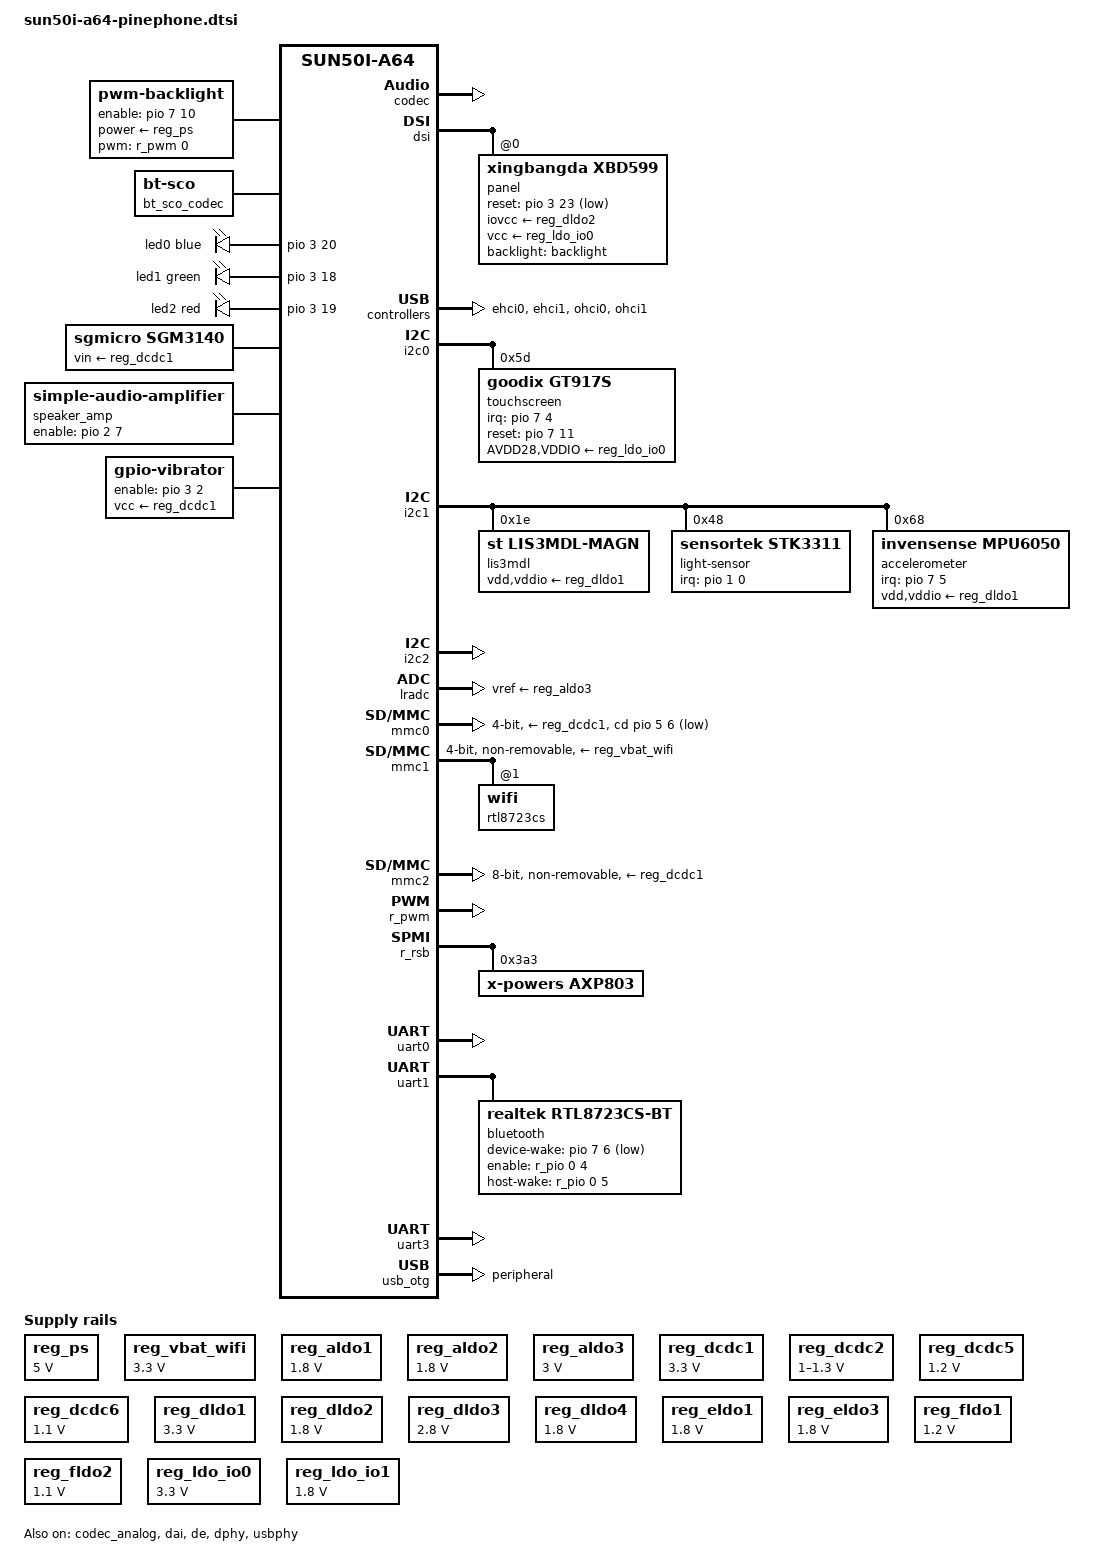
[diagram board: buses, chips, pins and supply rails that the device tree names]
// SPDX-License-Identifier: (GPL-2.0+ OR MIT)
// Copyright (C) 2019 Icenowy Zheng <icenowy@aosc.xyz>
// Copyright (C) 2020 Martijn Braam <martijn@brixit.nl>
// Copyright (C) 2020 Ondrej Jirman <megous@megous.com>

#include "sun50i-a64.dtsi"
#include "sun50i-a64-cpu-opp.dtsi"

#include <dt-bindings/gpio/gpio.h>
#include <dt-bindings/input/input.h>
#include <dt-bindings/leds/common.h>
#include <dt-bindings/pwm/pwm.h>

/ {
	chassis-type = "handset";

	aliases {
		ethernet0 = &rtl8723cs;
		serial0 = &uart0;
	};

	backlight: backlight {
		compatible = "pwm-backlight";
		pwms = <&r_pwm 0 50000 PWM_POLARITY_INVERTED>;
		enable-gpios = <&pio 7 10 GPIO_ACTIVE_HIGH>; /* PH10 */
		power-supply = <&reg_ps>;
		/* Backlight configuration differs per PinePhone revision. */
	};

	bt_sco_codec: bt-sco-codec {
		#sound-dai-cells = <1>;
		compatible = "linux,bt-sco";
	};

	chosen {
		stdout-path = "serial0:115200n8";
	};

	leds {
		compatible = "gpio-leds";

		led0: led-0 {
			function = LED_FUNCTION_INDICATOR;
			color = <LED_COLOR_ID_BLUE>;
			gpios = <&pio 3 20 GPIO_ACTIVE_HIGH>; /* PD20 */
			retain-state-suspended;
		};

		led1: led-1 {
			function = LED_FUNCTION_INDICATOR;
			color = <LED_COLOR_ID_GREEN>;
			gpios = <&pio 3 18 GPIO_ACTIVE_HIGH>; /* PD18 */
			retain-state-suspended;
		};

		led2: led-2 {
			function = LED_FUNCTION_INDICATOR;
			color = <LED_COLOR_ID_RED>;
			gpios = <&pio 3 19 GPIO_ACTIVE_HIGH>; /* PD19 */
			retain-state-suspended;
		};
	};

	multi-led {
		compatible = "leds-group-multicolor";
		color = <LED_COLOR_ID_RGB>;
		function = LED_FUNCTION_INDICATOR;
		leds = <&led0>, <&led1>, <&led2>;
	};

	reg_ps: ps-regulator {
		compatible = "regulator-fixed";
		regulator-name = "ps";
		regulator-min-microvolt = <5000000>;
		regulator-max-microvolt = <5000000>;
		regulator-boot-on;
	};

	reg_vbat_wifi: vbat-wifi {
		compatible = "regulator-fixed";
		regulator-min-microvolt = <3300000>;
		regulator-max-microvolt = <3300000>;
		regulator-name = "vbat-wifi";
	};

	sgm3140: led-controller {
		compatible = "sgmicro,sgm3140";
		vin-supply = <&reg_dcdc1>;

		sgm3140_flash: led {
			function = LED_FUNCTION_FLASH;
			color = <LED_COLOR_ID_WHITE>;
			flash-max-timeout-us = <250000>;
		};
	};

	speaker_amp: audio-amplifier {
		compatible = "simple-audio-amplifier";
		enable-gpios = <&pio 2 7 GPIO_ACTIVE_HIGH>; /* PC7 */
		sound-name-prefix = "Speaker Amp";
	};

	vibrator {
		compatible = "gpio-vibrator";
		enable-gpios = <&pio 3 2 GPIO_ACTIVE_HIGH>; /* PD2 */
		vcc-supply = <&reg_dcdc1>;
	};
};

&codec {
	pinctrl-names = "default";
	pinctrl-0 = <&aif3_pins>;
	status = "okay";
};

&codec_analog {
	cpvdd-supply = <&reg_eldo1>;
	status = "okay";
};

&cpu0 {
	cpu-supply = <&reg_dcdc2>;
};

&cpu1 {
	cpu-supply = <&reg_dcdc2>;
};

&cpu2 {
	cpu-supply = <&reg_dcdc2>;
};

&cpu3 {
	cpu-supply = <&reg_dcdc2>;
};

&dai {
	status = "okay";
};

&de {
	status = "okay";
};

&dphy {
	status = "okay";
};

&dsi {
	vcc-dsi-supply = <&reg_dldo1>;
	status = "okay";

	panel@0 {
		compatible = "xingbangda,xbd599";
		reg = <0>;
		reset-gpios = <&pio 3 23 GPIO_ACTIVE_LOW>; /* PD23 */
		iovcc-supply = <&reg_dldo2>;
		vcc-supply = <&reg_ldo_io0>;
		backlight = <&backlight>;
	};
};

&ehci0 {
	status = "okay";
};

&ehci1 {
	status = "okay";
};

&i2c0 {
	status = "okay";

	touchscreen@5d {
		compatible = "goodix,gt917s";
		reg = <0x5d>;
		interrupt-parent = <&pio>;
		interrupts = <7 4 IRQ_TYPE_LEVEL_HIGH>; /* PH4 */
		irq-gpios = <&pio 7 4 GPIO_ACTIVE_HIGH>; /* PH4 */
		reset-gpios = <&pio 7 11 GPIO_ACTIVE_HIGH>; /* PH11 */
		AVDD28-supply = <&reg_ldo_io0>;
		VDDIO-supply = <&reg_ldo_io0>;
		touchscreen-size-x = <720>;
		touchscreen-size-y = <1440>;
	};
};

&i2c1 {
	status = "okay";

	/* Magnetometer */
	lis3mdl: magnetometer@1e {
		compatible = "st,lis3mdl-magn";
		reg = <0x1e>;
		vdd-supply = <&reg_dldo1>;
		vddio-supply = <&reg_dldo1>;
	};

	/* Light/proximity sensor */
	light-sensor@48 {
		compatible = "sensortek,stk3311";
		reg = <0x48>;
		interrupt-parent = <&pio>;
		interrupts = <1 0 IRQ_TYPE_EDGE_FALLING>; /* PB0 */
	};

	/* Accelerometer/gyroscope */
	accelerometer@68 {
		compatible = "invensense,mpu6050";
		reg = <0x68>;
		interrupt-parent = <&pio>;
		interrupts = <7 5 IRQ_TYPE_EDGE_RISING>; /* PH5 */
		vdd-supply = <&reg_dldo1>;
		vddio-supply = <&reg_dldo1>;
		mount-matrix = "0", "1", "0",
			       "-1", "0", "0",
			       "0", "0", "1";
	};
};

/* Connected to pogo pins (external spring based pinheader for user addons) */
&i2c2 {
	status = "okay";
};

&lradc {
	vref-supply = <&reg_aldo3>;
	wakeup-source;
	status = "okay";

	button-200 {
		label = "Volume Up";
		linux,code = <KEY_VOLUMEUP>;
		channel = <0>;
		voltage = <200000>;
	};

	button-400 {
		label = "Volume Down";
		linux,code = <KEY_VOLUMEDOWN>;
		channel = <0>;
		voltage = <400000>;
	};
};

&mmc0 {
	pinctrl-names = "default";
	pinctrl-0 = <&mmc0_pins>;
	vmmc-supply = <&reg_dcdc1>;
	vqmmc-supply = <&reg_dcdc1>;
	cd-gpios = <&pio 5 6 GPIO_ACTIVE_LOW>; /* PF6 */
	disable-wp;
	bus-width = <4>;
	status = "okay";
};

&mmc1 {
	pinctrl-names = "default";
	pinctrl-0 = <&mmc1_pins>;
	vmmc-supply = <&reg_vbat_wifi>;
	vqmmc-supply = <&reg_dldo4>;
	bus-width = <4>;
	non-removable;
	status = "okay";

	rtl8723cs: wifi@1 {
		reg = <1>;
	};
};

&mmc2 {
	pinctrl-names = "default";
	pinctrl-0 = <&mmc2_pins>;
	vmmc-supply = <&reg_dcdc1>;
	vqmmc-supply = <&reg_dcdc1>;
	bus-width = <8>;
	non-removable;
	cap-mmc-hw-reset;
	status = "okay";
};

&ohci0 {
	status = "okay";
};

&ohci1 {
	status = "okay";
};

&pio {
	vcc-pb-supply = <&reg_dcdc1>;
	vcc-pc-supply = <&reg_dcdc1>;
	vcc-pd-supply = <&reg_dcdc1>;
	vcc-pe-supply = <&reg_aldo1>;
	vcc-pf-supply = <&reg_dcdc1>;
	vcc-pg-supply = <&reg_dldo4>;
	vcc-ph-supply = <&reg_dcdc1>;
};

&r_pio {
	/*
	 * FIXME: We can't add that supply for now since it would
	 * create a circular dependency between pinctrl, the regulator
	 * and the RSB Bus.
	 *
	 * vcc-pl-supply = <&reg_aldo2>;
	 */
};

&r_pwm {
	status = "okay";
};

&r_rsb {
	status = "okay";

	axp803: pmic@3a3 {
		compatible = "x-powers,axp803";
		reg = <0x3a3>;
		interrupt-parent = <&r_intc>;
		interrupts = <GIC_SPI 32 IRQ_TYPE_LEVEL_LOW>;
	};
};

#include "axp803.dtsi"

&battery_power_supply {
	status = "okay";
};

&reg_aldo1 {
	regulator-min-microvolt = <1800000>;
	regulator-max-microvolt = <1800000>;
	regulator-name = "dovdd-csi";
};

&reg_aldo2 {
	regulator-always-on;
	regulator-min-microvolt = <1800000>;
	regulator-max-microvolt = <1800000>;
	regulator-name = "vcc-pl";
};

&reg_aldo3 {
	regulator-always-on;
	regulator-min-microvolt = <3000000>;
	regulator-max-microvolt = <3000000>;
	regulator-name = "vcc-pll-avcc";
};

&reg_dcdc1 {
	regulator-always-on;
	regulator-min-microvolt = <3300000>;
	regulator-max-microvolt = <3300000>;
	regulator-name = "vcc-3v3";
};

&reg_dcdc2 {
	regulator-always-on;
	regulator-min-microvolt = <1000000>;
	regulator-max-microvolt = <1300000>;
	regulator-name = "vdd-cpux";
};

/* DCDC3 is polyphased with DCDC2 */

&reg_dcdc5 {
	regulator-always-on;
	regulator-min-microvolt = <1200000>;
	regulator-max-microvolt = <1200000>;
	regulator-name = "vcc-dram";
};

&reg_dcdc6 {
	regulator-always-on;
	regulator-min-microvolt = <1100000>;
	regulator-max-microvolt = <1100000>;
	regulator-name = "vdd-sys";
};

&reg_dldo1 {
	regulator-min-microvolt = <3300000>;
	regulator-max-microvolt = <3300000>;
	regulator-name = "vcc-dsi-sensor";
};

&reg_dldo2 {
	regulator-min-microvolt = <1800000>;
	regulator-max-microvolt = <1800000>;
	regulator-name = "vcc-mipi-io";
};

&reg_dldo3 {
	regulator-min-microvolt = <2800000>;
	regulator-max-microvolt = <2800000>;
	regulator-name = "avdd-csi";
};

&reg_dldo4 {
	regulator-min-microvolt = <1800000>;
	regulator-max-microvolt = <1800000>;
	regulator-name = "vcc-wifi-io";
};

&reg_eldo1 {
	regulator-always-on;
	regulator-min-microvolt = <1800000>;
	regulator-max-microvolt = <1800000>;
	regulator-name = "vcc-lpddr";
};

&reg_eldo3 {
	regulator-min-microvolt = <1800000>;
	regulator-max-microvolt = <1800000>;
	regulator-name = "dvdd-1v8-csi";
};

&reg_fldo1 {
	regulator-min-microvolt = <1200000>;
	regulator-max-microvolt = <1200000>;
	regulator-name = "vcc-1v2-hsic";
};

&reg_fldo2 {
	regulator-always-on;
	regulator-min-microvolt = <1100000>;
	regulator-max-microvolt = <1100000>;
	regulator-name = "vdd-cpus";
};

&reg_ldo_io0 {
	regulator-min-microvolt = <3300000>;
	regulator-max-microvolt = <3300000>;
	regulator-name = "vcc-lcd-ctp-stk";
	status = "okay";
};

&reg_ldo_io1 {
	regulator-min-microvolt = <1800000>;
	regulator-max-microvolt = <1800000>;
	regulator-name = "vcc-1v8-typec";
	status = "okay";
};

&reg_rtc_ldo {
	regulator-name = "vcc-rtc";
};

&sound {
	status = "okay";
	simple-audio-card,name = "PinePhone";
	simple-audio-card,aux-devs = <&codec_analog>, <&speaker_amp>;
	simple-audio-card,widgets = "Microphone", "Headset Microphone",
				    "Microphone", "Internal Microphone",
				    "Headphone", "Headphone Jack",
				    "Speaker", "Internal Earpiece",
				    "Speaker", "Internal Speaker";
	simple-audio-card,routing =
			"Headphone Jack", "HP",
			"Internal Earpiece", "EARPIECE",
			"Internal Speaker", "Speaker Amp OUTL",
			"Internal Speaker", "Speaker Amp OUTR",
			"Speaker Amp INL", "LINEOUT",
			"Speaker Amp INR", "LINEOUT",
			"Left DAC", "DACL",
			"Right DAC", "DACR",
			"ADCL", "Left ADC",
			"ADCR", "Right ADC",
			"Internal Microphone", "MBIAS",
			"MIC1", "Internal Microphone",
			"Headset Microphone", "HBIAS",
			"MIC2", "Headset Microphone";

	simple-audio-card,dai-link@2 {
		format = "dsp_a";
		frame-master = <&link2_codec>;
		bitclock-master = <&link2_codec>;
		bitclock-inversion;

		link2_cpu: cpu {
			sound-dai = <&bt_sco_codec 0>;
		};

		link2_codec: codec {
			sound-dai = <&codec 2>;
			dai-tdm-slot-num = <1>;
			dai-tdm-slot-width = <32>;
		};
	};
};

&uart0 {
	pinctrl-names = "default";
	pinctrl-0 = <&uart0_pb_pins>;
	status = "okay";
};

&uart1 {
	pinctrl-names = "default";
	pinctrl-0 = <&uart1_pins>, <&uart1_rts_cts_pins>;
	status = "okay";

	bluetooth {
		compatible = "realtek,rtl8723cs-bt";
		device-wake-gpios = <&pio 7 6 GPIO_ACTIVE_LOW>; /* PH6 */
		enable-gpios = <&r_pio 0 4 GPIO_ACTIVE_HIGH>; /* PL4 */
		host-wake-gpios = <&r_pio 0 5 GPIO_ACTIVE_HIGH>; /* PL5 */
	};
};

/* Connected to the modem (hardware flow control can't be used) */
&uart3 {
	pinctrl-names = "default";
	pinctrl-0 = <&uart3_pins>;
	status = "okay";
};

&usb_otg {
	dr_mode = "peripheral";
	status = "okay";
};

&usb_power_supply {
	status = "okay";
};

&usbphy {
	status = "okay";
};
